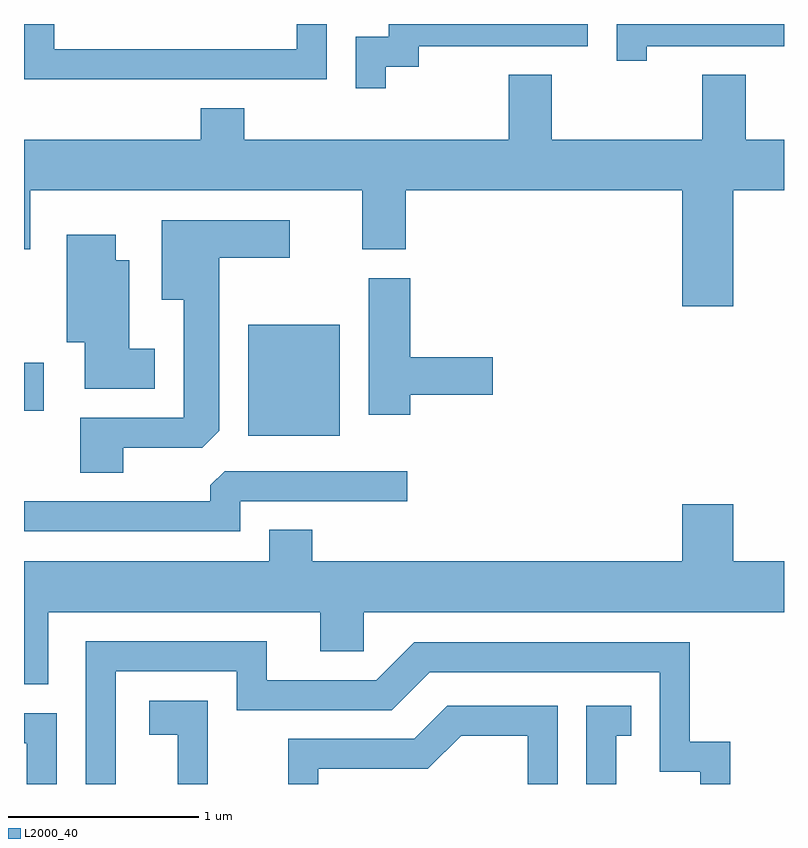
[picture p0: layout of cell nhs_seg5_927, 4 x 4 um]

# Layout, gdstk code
import gdstk
lib = gdstk.Library(unit=1e-6, precision=1e-09)
def R(c, l, rs):  # rectangles x0, y0, x1, y1
    for r in rs: c.add(gdstk.rectangle(r[:2], r[2:], *l))
def P(c, l, *ps):  # polygons
    for p in ps: c.add(gdstk.Polygon(p, *l))
L2000_40 = (2000, 40)

nhs_seg5_927 = lib.new_cell('nhs_seg5_927')
R(nhs_seg5_927, L2000_40, [(212.791,1499.906,213.274,1500.489), (211.611,1500.036,211.714,1500.289)])
P(nhs_seg5_927, L2000_40, [(213.204,1502.072),(213.046,1502.072),(213.046,1501.939),(211.769,1501.939),(211.769,1502.072),(211.611,1502.072),(211.611,1501.781),(213.204,1501.781)],
  [(213.514,1501.846),(213.689,1501.846),(213.689,1501.956),(214.579,1501.956),(214.579,1502.072),(213.531,1502.072),(213.531,1502.004),(213.356,1502.004),(213.356,1501.733),(213.514,1501.733)],
  [(214.889,1501.956),(215.611,1501.956),(215.611,1502.072),(214.731,1502.072),(214.731,1501.878),(214.889,1501.878)],
  [(215.344,1501.196),(215.611,1501.196),(215.611,1501.464),(215.409,1501.464),(215.409,1501.804),(215.181,1501.804),(215.181,1501.464),(214.389,1501.464),(214.389,1501.804),(214.161,1501.804),(214.161,1501.464),(212.769,1501.464),(212.769,1501.629),(212.541,1501.629),(212.541,1501.464),(211.611,1501.464),(211.611,1500.886),(211.644,1500.886),(211.644,1501.196),(213.391,1501.196),(213.391,1500.886),(213.619,1500.886),(213.619,1501.196),(215.076,1501.196),(215.076,1500.586),(215.344,1500.586)],
  [(212.134,1499.841),(212.549,1499.841),(212.639,1499.932),(212.639,1500.841),(213.009,1500.841),(213.009,1501.039),(212.336,1501.039),(212.336,1500.621),(212.451,1500.621),(212.451,1499.999),(211.906,1499.999),(211.906,1499.711),(212.134,1499.711)],
  [(212.299,1500.364),(212.164,1500.364),(212.164,1500.829),(212.094,1500.829),(212.094,1500.964),(211.836,1500.964),(211.836,1500.396),(211.931,1500.396),(211.931,1500.151),(212.299,1500.151)],
  [(213.644,1500.121),(214.079,1500.121),(214.079,1500.319),(213.644,1500.319),(213.644,1500.734),(213.426,1500.734),(213.426,1500.016),(213.644,1500.016)],
  [(212.749,1499.561),(213.628,1499.561),(213.628,1499.719),(212.667,1499.719),(212.591,1499.644),(212.591,1499.559),(211.611,1499.559),(211.611,1499.401),(212.749,1499.401)],
  [(211.739,1498.976),(213.171,1498.976),(213.171,1498.771),(213.399,1498.771),(213.399,1498.976),(215.611,1498.976),(215.611,1499.244),(215.344,1499.244),(215.344,1499.544),(215.076,1499.544),(215.076,1499.244),(213.129,1499.244),(213.129,1499.409),(212.901,1499.409),(212.901,1499.244),(211.611,1499.244),(211.611,1498.596),(211.739,1498.596)],
  [(212.094,1498.666),(212.731,1498.666),(212.731,1498.461),(213.547,1498.461),(213.747,1498.661),(214.956,1498.661),(214.956,1498.136),(215.171,1498.136),(215.171,1498.072),(215.329,1498.072),(215.329,1498.294),(215.114,1498.294),(215.114,1498.819),(213.664,1498.819),(213.464,1498.619),(212.889,1498.619),(212.889,1498.824),(211.936,1498.824),(211.936,1498.072),(212.094,1498.072)],
  [(212.579,1498.509),(212.271,1498.509),(212.271,1498.331),(212.421,1498.331),(212.421,1498.072),(212.579,1498.072)],
  [(214.729,1498.326),(214.808,1498.326),(214.808,1498.484),(214.571,1498.484),(214.571,1498.072),(214.729,1498.072)],
  [(213.159,1498.151),(213.737,1498.151),(213.912,1498.326),(214.261,1498.326),(214.261,1498.072),(214.419,1498.072),(214.419,1498.484),(213.839,1498.484),(213.664,1498.309),(213.001,1498.309),(213.001,1498.072),(213.159,1498.072)],
  [(211.784,1498.444),(211.611,1498.444),(211.611,1498.286),(211.626,1498.286),(211.626,1498.072),(211.784,1498.072)])

lib.write_gds('nhs_seg5_927.gds')
